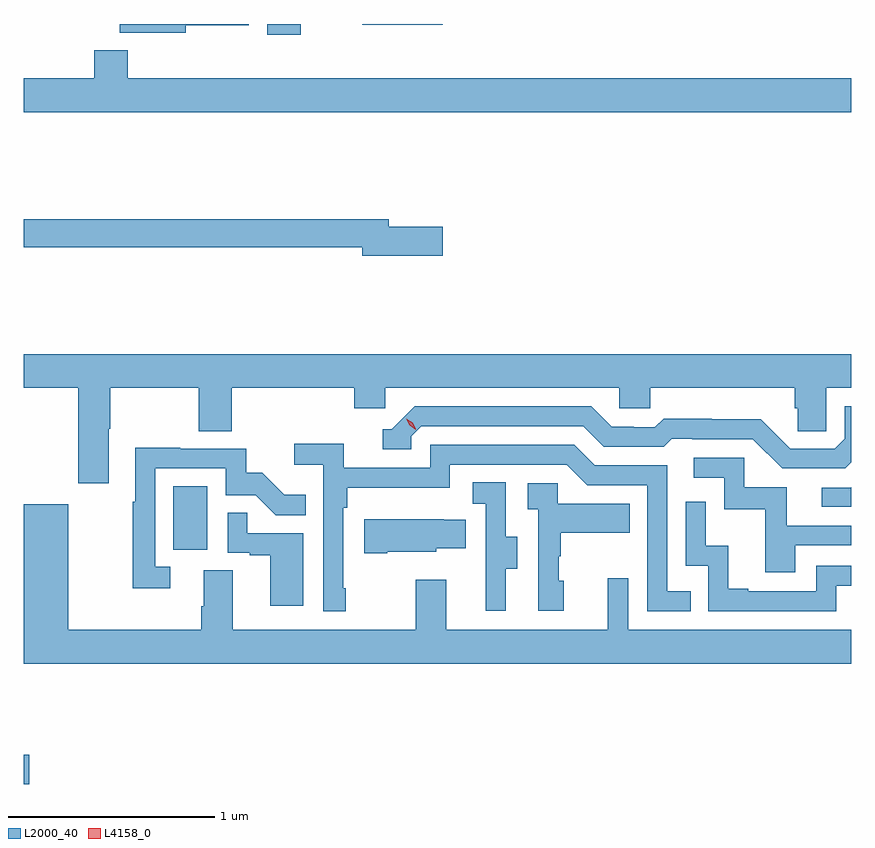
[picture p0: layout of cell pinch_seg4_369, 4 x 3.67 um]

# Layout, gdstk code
import gdstk
lib = gdstk.Library(unit=1e-6, precision=1e-09)
def R(c, l, rs):  # rectangles x0, y0, x1, y1
    for r in rs: c.add(gdstk.rectangle(r[:2], r[2:], *l))
def P(c, l, *ps):  # polygons
    for p in ps: c.add(gdstk.Polygon(p, *l))
L2000_40 = (2000, 40)
L4158_0 = (4158, 0)

pinch_seg4_369 = lib.new_cell('pinch_seg4_369')
R(pinch_seg4_369, L2000_40, [(937.6,768.266,937.627,768.408), (938.324,769.398,938.488,769.705), (938.777,771.888,938.938,771.939), (939.236,771.935,939.625,771.939)])
P(pinch_seg4_369, L2000_40, [(938.383,771.934),(938.688,771.934),(938.688,771.939),(938.065,771.939),(938.065,771.896),(938.383,771.896)],
  [(941.6,771.676),(938.102,771.676),(938.102,771.811),(937.942,771.811),(937.942,771.676),(937.6,771.676),(937.6,771.512),(941.6,771.512)],
  [(939.625,770.96),(939.364,770.96),(939.364,770.996),(937.6,770.996),(937.6,770.86),(939.236,770.86),(939.236,770.818),(939.625,770.818)],
  [(937.6,770.18),(937.864,770.18),(937.864,769.719),(938.011,769.719),(938.011,769.984),(938.019,769.984),(938.019,770.18),(938.446,770.18),(938.446,769.972),(938.606,769.972),(938.606,770.18),(939.197,770.18),(939.197,770.082),(939.348,770.082),(939.348,770.18),(940.479,770.18),(940.479,770.082),(940.629,770.082),(940.629,770.18),(941.327,770.18),(941.327,770.082),(941.341,770.082),(941.341,769.972),(941.478,769.972),(941.478,770.18),(941.6,770.18),(941.6,770.344),(937.6,770.344)],
  [(941.6,769.82),(941.6,770.091),(941.568,770.091),(941.568,769.935),(941.52,769.887),(941.304,769.887),(941.162,770.029),(940.926,770.029),(940.926,770.032),(940.693,770.032),(940.651,769.989),(940.548,769.989),(940.548,769.992),(940.441,769.992),(940.342,770.091),(939.489,770.091),(939.378,769.98),(939.335,769.98),(939.335,769.884),(939.474,769.884),(939.474,769.947),(939.522,769.995),(940.305,769.995),(940.404,769.896),(940.693,769.896),(940.732,769.935),(940.831,769.935),(940.831,769.932),(941.124,769.932),(941.265,769.791),(941.571,769.791)],
  [(939.157,769.213),(939.144,769.213),(939.144,769.601),(939.164,769.601),(939.164,769.697),(939.66,769.697),(939.66,769.809),(940.224,769.809),(940.323,769.71),(940.614,769.71),(940.614,769.101),(940.823,769.101),(940.823,769.197),(940.71,769.197),(940.71,769.806),(940.36,769.806),(940.261,769.905),(939.564,769.905),(939.564,769.794),(939.146,769.794),(939.146,769.91),(938.907,769.91),(938.907,769.808),(939.048,769.808),(939.048,769.101),(939.157,769.101)],
  [(938.308,769.317),(938.235,769.317),(938.235,769.791),(938.577,769.791),(938.577,769.662),(938.721,769.662),(938.819,769.564),(938.963,769.564),(938.963,769.663),(938.859,769.663),(938.752,769.77),(938.676,769.77),(938.676,769.887),(938.357,769.887),(938.357,769.892),(938.139,769.892),(938.139,769.631),(938.127,769.631),(938.127,769.212),(938.308,769.212)],
  [(941.329,769.419),(941.6,769.419),(941.6,769.515),(941.287,769.515),(941.287,769.701),(941.082,769.701),(941.082,769.842),(940.839,769.842),(940.839,769.746),(940.986,769.746),(940.986,769.593),(941.185,769.593),(941.185,769.29),(941.329,769.29)],
  [(939.931,769.306),(939.985,769.306),(939.985,769.461),(939.93,769.461),(939.93,769.724),(939.771,769.724),(939.771,769.621),(939.834,769.621),(939.834,769.317),(939.833,769.317),(939.833,769.104),(939.931,769.104)],
  [(940.21,769.248),(940.185,769.248),(940.185,769.367),(940.195,769.367),(940.195,769.481),(940.529,769.481),(940.529,769.621),(940.182,769.621),(940.182,769.719),(940.035,769.719),(940.035,769.595),(940.086,769.595),(940.086,769.104),(940.21,769.104)],
  [(941.6,769.7),(941.598,769.698),(941.457,769.698),(941.457,769.605),(941.6,769.605)],
  [(941.526,769.224),(941.6,769.224),(941.6,769.32),(941.43,769.32),(941.43,769.197),(941.101,769.197),(941.101,769.21),(941.006,769.21),(941.006,769.418),(940.896,769.418),(940.896,769.63),(940.8,769.63),(940.8,769.32),(940.908,769.32),(940.908,769.101),(941.526,769.101)],
  [(941.6,769.012),(940.521,769.012),(940.521,769.261),(940.424,769.261),(940.424,769.012),(939.643,769.012),(939.643,769.252),(939.496,769.252),(939.496,769.012),(938.611,769.012),(938.611,769.298),(938.471,769.298),(938.471,769.124),(938.459,769.124),(938.459,769.012),(937.816,769.012),(937.816,769.618),(937.6,769.618),(937.6,768.848),(941.6,768.848)],
  [(938.95,769.479),(938.681,769.479),(938.681,769.577),(938.586,769.577),(938.586,769.383),(938.693,769.383),(938.693,769.371),(938.792,769.371),(938.792,769.128),(938.95,769.128)],
  [(939.358,769.388),(939.594,769.388),(939.594,769.406),(939.737,769.406),(939.737,769.543),(939.629,769.543),(939.629,769.546),(939.246,769.546),(939.246,769.381),(939.358,769.381)])
P(pinch_seg4_369, L4158_0, [(939.496,769.979),(939.465,769.999),(939.449,770.031),(939.449,770.032),(939.449,770.032),(939.48,770.012),(939.496,769.98),(939.496,769.979)])

lib.write_gds('pinch_seg4_369.gds')
